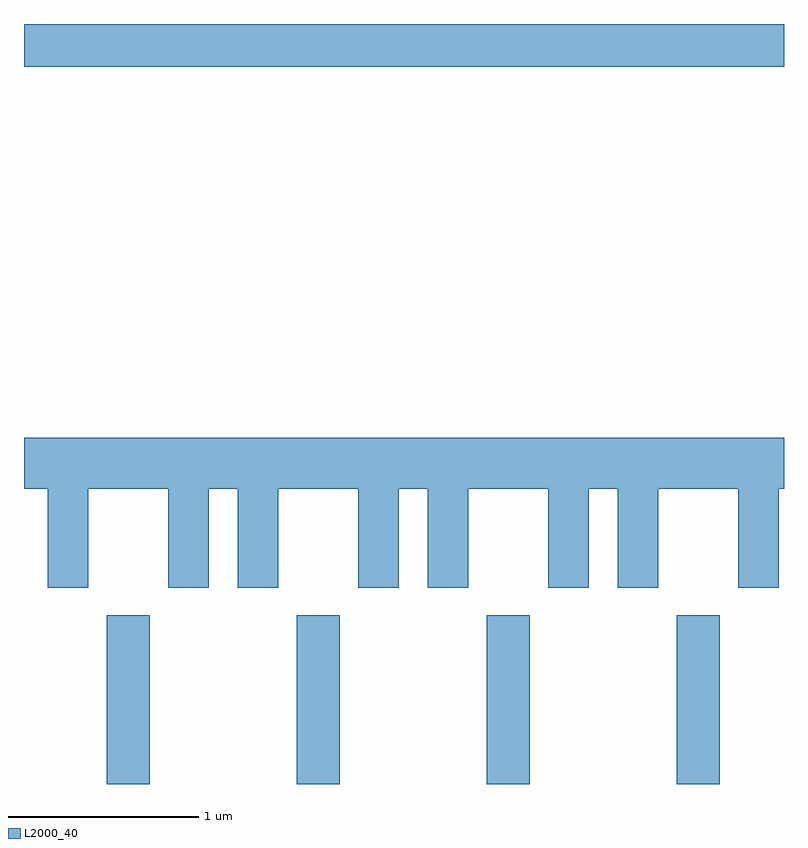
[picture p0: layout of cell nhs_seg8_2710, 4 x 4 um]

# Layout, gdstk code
import gdstk
lib = gdstk.Library(unit=1e-6, precision=1e-09)
def R(c, l, rs):  # rectangles x0, y0, x1, y1
    for r in rs: c.add(gdstk.rectangle(r[:2], r[2:], *l))
def A(c, l, x, y, w, h, nx, ny, dx, dy):  # array of equal rectangles
    R(c, l, [(x+i*dx, y+j*dy, x+i*dx+w, y+j*dy+h) for i in range(nx) for j in range(ny)])
def P(c, l, *ps):  # polygons
    for p in ps: c.add(gdstk.Polygon(p, *l))
L2000_40 = (2000, 40)

nhs_seg8_2710 = lib.new_cell('nhs_seg8_2710')
A(nhs_seg8_2710, L2000_40, 266.046, 1910.342, 0.228, 0.887, 4, 1, 1, 0)
R(nhs_seg8_2710, L2000_40, [(265.611,1914.116,269.611,1914.342)])
P(nhs_seg8_2710, L2000_40, [(265.949,1911.896),(266.371,1911.896),(266.371,1911.376),(266.584,1911.376),(266.584,1911.896),(266.736,1911.896),(266.736,1911.376),(266.949,1911.376),(266.949,1911.896),(267.371,1911.896),(267.371,1911.376),(267.584,1911.376),(267.584,1911.896),(267.736,1911.896),(267.736,1911.376),(267.949,1911.376),(267.949,1911.896),(268.371,1911.896),(268.371,1911.376),(268.584,1911.376),(268.584,1911.896),(268.736,1911.896),(268.736,1911.376),(268.949,1911.376),(268.949,1911.896),(269.371,1911.896),(269.371,1911.376),(269.584,1911.376),(269.584,1911.896),(269.611,1911.896),(269.611,1912.164),(265.611,1912.164),(265.611,1911.896),(265.736,1911.896),(265.736,1911.376),(265.949,1911.376)])

lib.write_gds('nhs_seg8_2710.gds')
